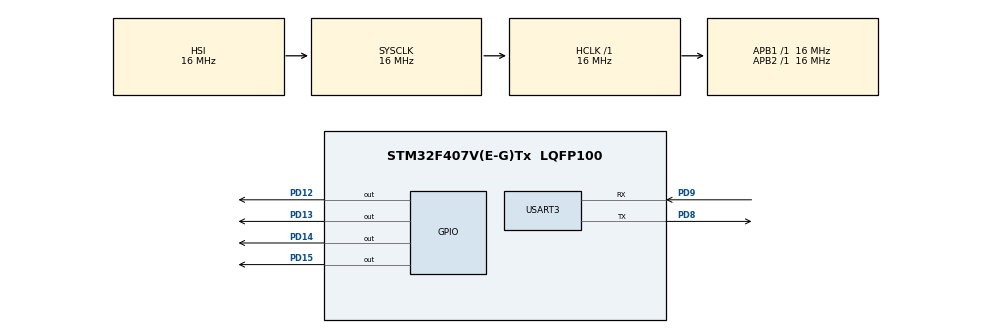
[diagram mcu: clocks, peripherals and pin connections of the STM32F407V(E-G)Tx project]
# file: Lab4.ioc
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Mcu.Family=STM32F4
Mcu.Name=STM32F407V(E-G)Tx
Mcu.Package=LQFP100
NVIC.PriorityGroup=NVIC_PRIORITYGROUP_4
PD12.Signal=GPIO_Output
PD13.Signal=GPIO_Output
PD14.Signal=GPIO_Output
PD15.Signal=GPIO_Output
PD8.Mode=Asynchronous
PD8.Signal=USART3_TX
PD9.Mode=Asynchronous
PD9.Signal=USART3_RX
ProjectManager.HeapSize=0x200
ProjectManager.StackSize=0x400
ProjectManager.TargetToolchain=STM32CubeIDE
RCC.AHBFreq_Value=16000000
RCC.APB1Freq_Value=16000000
RCC.APB2Freq_Value=16000000
RCC.CortexFreq_Value=16000000
RCC.HSE_VALUE=25000000
RCC.HSI_VALUE=16000000
RCC.LSE_VALUE=32768
RCC.SYSCLKFreq_VALUE=16000000
RCC.VCOOutputFreq_Value=192000000
USART3.VirtualMode=VM_ASYNC
board=custom

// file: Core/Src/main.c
/* USER CODE BEGIN Header */
/**
  ******************************************************************************
  * @file           : main.c
  * @brief          : Main program body
  ******************************************************************************
  * @attention
  *
  * Copyright (c) 2024 STMicroelectronics.
  * All rights reserved.
  *
  * This software is licensed under terms that can be found in the LICENSE file
  * in the root directory of this software component.
  * If no LICENSE file comes with this software, it is provided AS-IS.
  *
  ******************************************************************************
  */
/* USER CODE END Header */
#include "main.h"

UART_HandleTypeDef huart3;

void SystemClock_Config(void);
static void MX_GPIO_Init(void);
static void MX_USART3_UART_Init(void);

/* USER CODE BEGIN 0 */
typedef enum {
  false = 0,
  true = 1
} bool;
/* USER CODE END 0 */

int main(void)
{

  /* MCU Configuration--------------------------------------------------------*/

  /* Reset of all peripherals, Initializes the Flash interface and the Systick. */
  HAL_Init();

  /* Configure the system clock */
  SystemClock_Config();

  /* Initialize all configured peripherals */
  MX_GPIO_Init();
  MX_USART3_UART_Init();
  /* USER CODE BEGIN 2 */
  bool g = false;
  bool o = false;
  bool r = false;
  bool b = false;
  /* USER CODE END 2 */

  /* Infinite loop */
  /* USER CODE BEGIN WHILE */
  while (1)
  {
	  uint8_t rcvBuf[1];
	        HAL_StatusTypeDef result;

	        result = HAL_UART_Receive(&huart3, rcvBuf, 1, 10);

	        if (result == HAL_OK)
	        {
	            switch (rcvBuf[0])
	            {
					case '1':
						HAL_GPIO_WritePin(GPIOD, GPIO_PIN_15, GPIO_PIN_SET);
						HAL_GPIO_WritePin(GPIOD, GPIO_PIN_14, GPIO_PIN_SET);
						HAL_GPIO_WritePin(GPIOD, GPIO_PIN_13, GPIO_PIN_SET);
						HAL_GPIO_WritePin(GPIOD, GPIO_PIN_12, GPIO_PIN_SET);
						HAL_UART_Transmit(&huart3, (uint8_t *)" - ALL LEDs ON\r\n", 16, 100);
						g = true;
						o = true;
						r = true;
						b = true;
						break;

					case '2':
						HAL_GPIO_WritePin(GPIOD, GPIO_PIN_15, GPIO_PIN_RESET);
						HAL_GPIO_WritePin(GPIOD, GPIO_PIN_14, GPIO_PIN_RESET);
						HAL_GPIO_WritePin(GPIOD, GPIO_PIN_13, GPIO_PIN_RESET);
						HAL_GPIO_WritePin(GPIOD, GPIO_PIN_12, GPIO_PIN_RESET);
						HAL_UART_Transmit(&huart3, (uint8_t *)" - ALL LEDs OFF\r\n", 17, 100);
						g = false;
						o = false;
						r = false;
						b = false;
						break;

					case 'g':
						if(g)
						{
							HAL_GPIO_WritePin(GPIOD, GPIO_PIN_12, GPIO_PIN_RESET);
							HAL_UART_Transmit(&huart3, (uint8_t *)" - Green LED OFF\r\n", 18, 100);
							g = false;
						}else{
							HAL_GPIO_WritePin(GPIOD, GPIO_PIN_12, GPIO_PIN_SET);
							HAL_UART_Transmit(&huart3, (uint8_t *)" - Green LED ON\r\n", 17, 100);
							g = true;
						}

						break;

					case 'o':
						if(o)
						{
							HAL_GPIO_WritePin(GPIOD, GPIO_PIN_13, GPIO_PIN_RESET);
							HAL_UART_Transmit(&huart3, (uint8_t *)" - Orange LED OFF\r\n", 19, 100);
							o = false;
						}else{
							HAL_GPIO_WritePin(GPIOD, GPIO_PIN_13, GPIO_PIN_SET);
							HAL_UART_Transmit(&huart3, (uint8_t *)" - Orange LED ON\r\n", 18, 100);
							o = true;
						}

						break;

					case 'r':
						if(r)
						{
							HAL_GPIO_WritePin(GPIOD, GPIO_PIN_14, GPIO_PIN_RESET);
							HAL_UART_Transmit(&huart3, (uint8_t *)" - Red LED OFF\r\n", 16, 100);
							r = false;
						}else{
							HAL_GPIO_WritePin(GPIOD, GPIO_PIN_14, GPIO_PIN_SET);
							HAL_UART_Transmit(&huart3, (uint8_t *)" - Red LED ON\r\n", 15, 100);
							r = true;
						}

						break;

					case 'b':
						if(b)
						{
							HAL_GPIO_WritePin(GPIOD, GPIO_PIN_15, GPIO_PIN_RESET);
							HAL_UART_Transmit(&huart3, (uint8_t *)" - Blue LED OFF\r\n", 17, 100);
							b = false;
						}else
						{
							HAL_GPIO_WritePin(GPIOD, GPIO_PIN_15, GPIO_PIN_SET);
							HAL_UART_Transmit(&huart3, (uint8_t *)" - Blue LED ON\r\n", 16, 100);
							b = true;
						}

						break;

	                default:
	                    HAL_UART_Transmit(&huart3, (uint8_t *)" - UnexpCmd\r\n", 13, 100);
	                    break;
	            }
	        }
    /* USER CODE END WHILE */

  }
}

void SystemClock_Config(void)
{
  RCC_OscInitTypeDef RCC_OscInitStruct = {0};
  RCC_ClkInitTypeDef RCC_ClkInitStruct = {0};

  /** Configure the main internal regulator output voltage
  */
  __HAL_RCC_PWR_CLK_ENABLE();
  __HAL_PWR_VOLTAGESCALING_CONFIG(PWR_REGULATOR_VOLTAGE_SCALE1);

  /** Initializes the RCC Oscillators according to the specified parameters
  * in the RCC_OscInitTypeDef structure.
  */
  RCC_OscInitStruct.OscillatorType = RCC_OSCILLATORTYPE_HSI;
  RCC_OscInitStruct.HSIState = RCC_HSI_ON;
  RCC_OscInitStruct.HSICalibrationValue = RCC_HSICALIBRATION_DEFAULT;
  RCC_OscInitStruct.PLL.PLLState = RCC_PLL_NONE;
  if (HAL_RCC_OscConfig(&RCC_OscInitStruct) != HAL_OK)
  {
    Error_Handler();
  }

  /** Initializes the CPU, AHB and APB buses clocks
  */
  RCC_ClkInitStruct.ClockType = RCC_CLOCKTYPE_HCLK|RCC_CLOCKTYPE_SYSCLK
                              |RCC_CLOCKTYPE_PCLK1|RCC_CLOCKTYPE_PCLK2;
  RCC_ClkInitStruct.SYSCLKSource = RCC_SYSCLKSOURCE_HSI;
  RCC_ClkInitStruct.AHBCLKDivider = RCC_SYSCLK_DIV1;
  RCC_ClkInitStruct.APB1CLKDivider = RCC_HCLK_DIV1;
  RCC_ClkInitStruct.APB2CLKDivider = RCC_HCLK_DIV1;

  if (HAL_RCC_ClockConfig(&RCC_ClkInitStruct, FLASH_LATENCY_0) != HAL_OK)
  {
    Error_Handler();
  }
}

static void MX_USART3_UART_Init(void)
{

  huart3.Instance = USART3;
  huart3.Init.BaudRate = 115200;
  huart3.Init.WordLength = UART_WORDLENGTH_8B;
  huart3.Init.StopBits = UART_STOPBITS_1;
  huart3.Init.Parity = UART_PARITY_NONE;
  huart3.Init.Mode = UART_MODE_TX_RX;
  huart3.Init.HwFlowCtl = UART_HWCONTROL_NONE;
  huart3.Init.OverSampling = UART_OVERSAMPLING_16;
  if (HAL_UART_Init(&huart3) != HAL_OK)
  {
    Error_Handler();
  }

}

static void MX_GPIO_Init(void)
{
  GPIO_InitTypeDef GPIO_InitStruct = {0};

  /* GPIO Ports Clock Enable */
  __HAL_RCC_GPIOD_CLK_ENABLE();

  /*Configure GPIO pin Output Level */
  HAL_GPIO_WritePin(GPIOD, GPIO_PIN_12|GPIO_PIN_13|GPIO_PIN_14|GPIO_PIN_15, GPIO_PIN_RESET);

  /*Configure GPIO pins : PD12 PD13 PD14 PD15 */
  GPIO_InitStruct.Pin = GPIO_PIN_12|GPIO_PIN_13|GPIO_PIN_14|GPIO_PIN_15;
  GPIO_InitStruct.Mode = GPIO_MODE_OUTPUT_PP;
  GPIO_InitStruct.Pull = GPIO_NOPULL;
  GPIO_InitStruct.Speed = GPIO_SPEED_FREQ_LOW;
  HAL_GPIO_Init(GPIOD, &GPIO_InitStruct);

}

void Error_Handler(void)
{
  __disable_irq();
  while (1)
  {
  }
}
